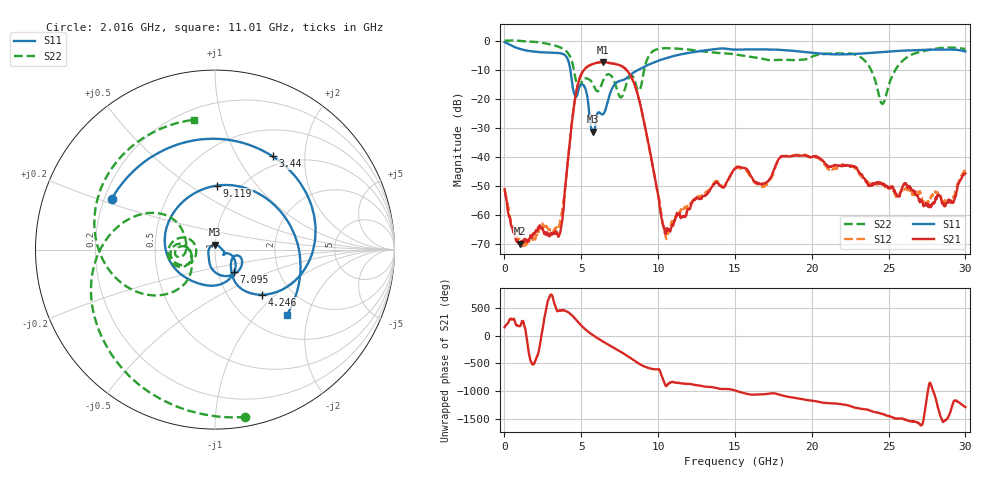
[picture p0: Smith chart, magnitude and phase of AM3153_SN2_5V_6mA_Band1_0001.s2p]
!Agilent Technologies,E8364B,MY43040894,A.07.50.67
!Agilent E8364B: A.07.50.67
!Date: Tuesday, May 12, 2020 09:42:48
!Correction: S11(Full 2 Port(1,2))
!S21(Full 2 Port(1,2))
!S12(Full 2 Port(1,2))
!S22(Full 2 Port(1,2))
!S2P File: Measurements: S11, S21, S12, S22:
# Hz S  dB  R 50
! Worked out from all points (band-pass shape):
!   1601 points, 10 MHz to 30 GHz, reference 50 ohm
!   highest |S21| = -7.41 dB at 6.383 GHz (marker M1); lowest = -70.0 dB at 1.022 GHz (marker M2)
!   |S21| within 3 dB of the highest: 5.135 GHz to 7.991 GHz (2.856 GHz wide, 43.5 % of centre)
!   lowest |S11| = -31.5 dB at 5.764 GHz (marker M3), VSWR 1.05, Z = 49.8 + j2.67 ohm
!   |S11| at or under -10 dB: 4.286 GHz to 8.754 GHz (4.468 GHz wide, 68.5 % of centre)
!   |S22| runs from -21.9 to 0.0 dB; largest |S21 - S12| = 0.0043
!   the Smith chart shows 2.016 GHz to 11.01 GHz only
!   S11 on the Smith chart (normalised r, x): 2.016 GHz: 0.23, +0.22; 3.44 GHz: 0.86, +1.42; 4.246 GHz: 1.43, -0.83; 7.095 GHz: 1.20, -0.31; 9.119 GHz: 0.79, +0.65; 11.01 GHz: 1.43, -1.48
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1e7  -0.59 -11.8  -51.20 153.7  -51.58 -130.7  -0.03 -2.2
1.022162e9  -2.91 -134.2  -70.01 177.2  -69.15 -10.3  -0.12 -40.0
2.015581e9  -3.87 153.8  -66.06 -79.5  -68.22 -4.6  -0.47 -79.7
3.440106e9  -4.28 58.3  -66.67 79.7  -64.59 175.3  -1.98 -142.5
4.246088e9  -8.80 -43.9  -35.26 43.0  -35.16 43.7  -5.25 165.4
5.014581e9  -15.10 -38.0  -11.45 178.9  -11.46 179.1  -14.36 -168.2
5.764331e9  -31.46 91.8  -8.06 8.3  -8.08 8.6  -15.08 173.9
6.382875e9  -25.45 -28.9  -7.41 -100.6  -7.47 -100.5  -14.27 -151.2
7.095138e9  -15.69 -49.2  -7.96 146.7  -7.97 147.0  -13.41 162.8
7.863631e9  -13.27 -127.1  -9.69 19.7  -9.71 19.9  -16.17 -151.6
9.119462e9  -8.95 88.3  -28.92 164.4  -29.04 164.2  -9.46 -135.1
1.001916e10  -6.95 11.6  -53.83 114.9  -54.14 113.6  -2.87 153.1
1.101258e10  -5.33 -42.6  -63.01 -116.7  -61.88 -125.7  -2.70 99.3
1.292444e10  -3.49 -111.9  -53.69 170.6  -52.91 170.5  -3.73 16.6
1.5005e10  -3.12 -174.3  -44.08 94.3  -44.29 90.6  -4.75 -66.2
1.792902e10  -3.23 101.6  -40.35 16.2  -40.37 19.2  -6.65 173.0
2.000958e10  -4.21 27.1  -40.12 -90.4  -40.50 -90.9  -5.55 23.7
2.132164e10  -4.73 -25.8  -43.35 -138.6  -44.38 -135.3  -4.43 -78.3
2.276491e10  -4.63 -84.3  -43.35 148.1  -43.70 150.3  -4.70 -162.0
2.501416e10  -3.81 -162.7  -50.68 -7.1  -50.97 -9.1  -15.40 -85.5
2.73009e10  -3.20 133.2  -56.84 -21.8  -55.67 83.3  -3.59 169.6
3e10  -3.73 74.5  -45.77 154.6  -44.45 171.3  -2.88 93.0
